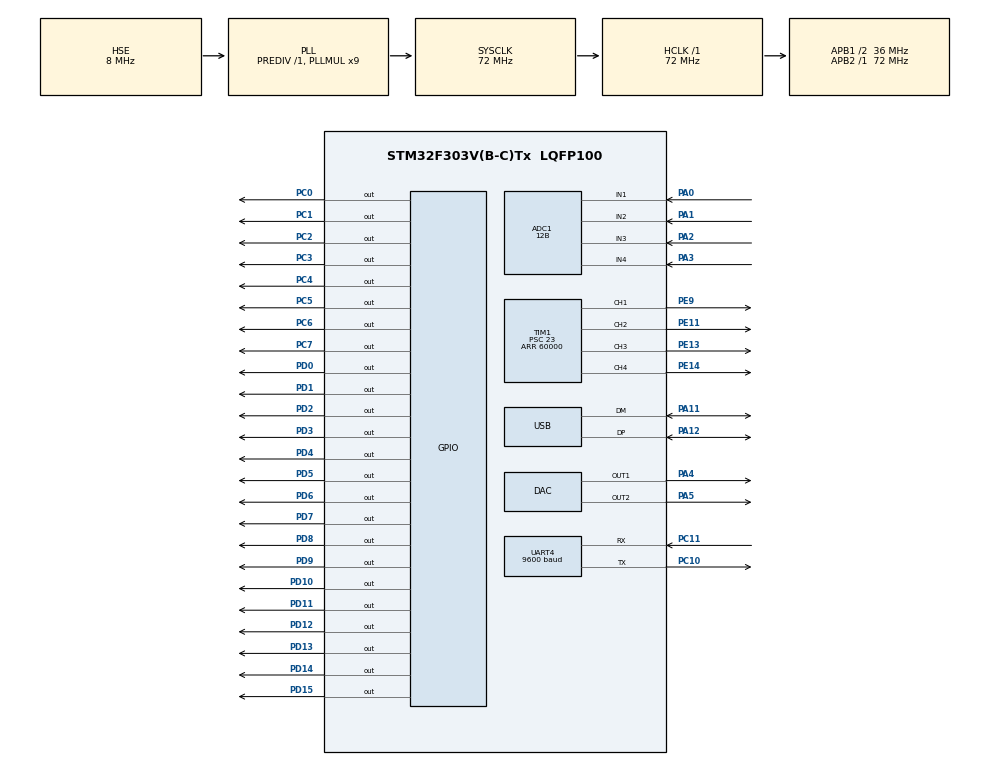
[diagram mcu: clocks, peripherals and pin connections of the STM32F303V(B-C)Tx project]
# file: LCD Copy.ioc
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ADC1.Channel-0\#ChannelRegularConversion=ADC_CHANNEL_1
ADC1.Channel-1\#ChannelRegularConversion=ADC_CHANNEL_2
ADC1.Channel-2\#ChannelRegularConversion=ADC_CHANNEL_3
ADC1.Channel-3\#ChannelRegularConversion=ADC_CHANNEL_4
ADC1.ClockPrescaler=ADC_CLOCK_SYNC_PCLK_DIV4
ADC1.ContinuousConvMode=ENABLE
ADC1.DMAContinuousRequests=DISABLE
ADC1.DataAlign=ADC_DATAALIGN_RIGHT
ADC1.DiscontinuousConvMode=DISABLE
ADC1.EOCSelection=ADC_EOC_SINGLE_SEQ_CONV
ADC1.EnableAnalogWatchDog1=false
ADC1.EnableAnalogWatchDog2=false
ADC1.EnableAnalogWatchDog3=false
ADC1.EnableInjectedConversion=DISABLE
ADC1.EnableRegularConversion=ENABLE
ADC1.ExternalTrigConv=ADC_SOFTWARE_START
ADC1.ExternalTrigConvEdge=ADC_EXTERNALTRIGCONVEDGE_NONE
ADC1.LowPowerAutoWait=DISABLE
ADC1.NbrOfConversion=4
ADC1.NbrOfConversionFlag=1
ADC1.Offset-0\#ChannelRegularConversion=0
ADC1.Offset-1\#ChannelRegularConversion=0
ADC1.Offset-2\#ChannelRegularConversion=0
ADC1.Offset-3\#ChannelRegularConversion=0
ADC1.OffsetNumber-0\#ChannelRegularConversion=ADC_OFFSET_NONE
ADC1.OffsetNumber-1\#ChannelRegularConversion=ADC_OFFSET_NONE
ADC1.OffsetNumber-2\#ChannelRegularConversion=ADC_OFFSET_NONE
ADC1.OffsetNumber-3\#ChannelRegularConversion=ADC_OFFSET_NONE
ADC1.Overrun=ADC_OVR_DATA_OVERWRITTEN
ADC1.Rank-0\#ChannelRegularConversion=1
ADC1.Rank-1\#ChannelRegularConversion=2
ADC1.Rank-2\#ChannelRegularConversion=3
ADC1.Rank-3\#ChannelRegularConversion=4
ADC1.Resolution=ADC_RESOLUTION_12B
ADC1.SamplingTime-0\#ChannelRegularConversion=ADC_SAMPLETIME_601CYCLES_5
ADC1.SamplingTime-1\#ChannelRegularConversion=ADC_SAMPLETIME_601CYCLES_5
ADC1.SamplingTime-2\#ChannelRegularConversion=ADC_SAMPLETIME_601CYCLES_5
ADC1.SamplingTime-3\#ChannelRegularConversion=ADC_SAMPLETIME_601CYCLES_5
ADC1.ScanConvMode=ADC_SCAN_ENABLE
ADC1.master=1
DAC.DAC_Trigger=DAC_TRIGGER_NONE
Mcu.Family=STM32F3
Mcu.Name=STM32F303V(B-C)Tx
Mcu.Package=LQFP100
NVIC.ADC1_2_IRQn=true\:0\:0\:false\:false\:true
NVIC.PriorityGroup=NVIC_PRIORITYGROUP_4
NVIC.RTC_Alarm_IRQn=true\:0\:0\:false\:false\:true
NVIC.TIM6_DAC_IRQn=true\:0\:0\:false\:false\:true
NVIC.TIM7_IRQn=true\:0\:0\:false\:false\:true
NVIC.UART4_IRQn=true\:0\:0\:false\:false\:true
NVIC.USB_LP_CAN_RX0_IRQn=true\:0\:0\:false\:false\:true
PA0.GPIO_PuPd=GPIO_NOPULL
PA0.Mode=IN1-Single-Ended
PA0.Signal=ADC1_IN1
PA1.Mode=IN2-Single-Ended
PA1.Signal=ADC1_IN2
PA11.GPIO_PuPd=GPIO_PULLDOWN
PA11.Mode=Device
PA11.Signal=USB_DM
PA12.GPIO_PuPd=GPIO_PULLDOWN
PA12.Mode=Device
PA12.Signal=USB_DP
PA2.Mode=IN3-Single-Ended
PA2.Signal=ADC1_IN3
PA3.Mode=IN4-Single-Ended
PA3.Signal=ADC1_IN4
PA4.Signal=COMP_DAC1_group
PA5.Signal=COMP_DAC2_group
PC0.GPIO_ModeDefaultOutputPP=GPIO_MODE_OUTPUT_PP
PC0.GPIO_PuPd=GPIO_PULLDOWN
PC0.GPIO_Speed=GPIO_SPEED_FREQ_HIGH
PC0.PinState=GPIO_PIN_SET
PC0.Signal=GPIO_Output
PC1.GPIO_ModeDefaultOutputPP=GPIO_MODE_OUTPUT_PP
PC1.GPIO_PuPd=GPIO_PULLDOWN
PC1.GPIO_Speed=GPIO_SPEED_FREQ_HIGH
PC1.PinState=GPIO_PIN_SET
PC1.Signal=GPIO_Output
PC10.Mode=Asynchronous
PC10.Signal=UART4_TX
PC11.Mode=Asynchronous
PC11.Signal=UART4_RX
PC2.GPIO_ModeDefaultOutputPP=GPIO_MODE_OUTPUT_PP
PC2.GPIO_PuPd=GPIO_PULLDOWN
PC2.GPIO_Speed=GPIO_SPEED_FREQ_HIGH
PC2.PinState=GPIO_PIN_SET
PC2.Signal=GPIO_Output
PC3.GPIO_ModeDefaultOutputPP=GPIO_MODE_OUTPUT_PP
PC3.GPIO_PuPd=GPIO_PULLDOWN
PC3.GPIO_Speed=GPIO_SPEED_FREQ_HIGH
PC3.PinState=GPIO_PIN_SET
PC3.Signal=GPIO_Output
PC4.GPIO_PuPd=GPIO_NOPULL
PC4.GPIO_Speed=GPIO_SPEED_FREQ_HIGH
PC4.PinState=GPIO_PIN_SET
PC4.Signal=GPIO_Output
PC5.PinState=GPIO_PIN_SET
PC5.Signal=GPIO_Output
PC6.GPIO_PuPd=GPIO_NOPULL
PC6.GPIO_Speed=GPIO_SPEED_FREQ_HIGH
PC6.PinState=GPIO_PIN_RESET
PC6.Signal=GPIO_Output
PC7.Signal=GPIO_Output
PD0.GPIO_ModeDefaultOutputPP=GPIO_MODE_OUTPUT_PP
PD0.GPIO_PuPd=GPIO_PULLDOWN
PD0.GPIO_Speed=GPIO_SPEED_FREQ_HIGH
PD0.PinState=GPIO_PIN_SET
PD0.Signal=GPIO_Output
PD1.GPIO_ModeDefaultOutputPP=GPIO_MODE_OUTPUT_PP
PD1.GPIO_PuPd=GPIO_PULLDOWN
PD1.GPIO_Speed=GPIO_SPEED_FREQ_HIGH
PD1.PinState=GPIO_PIN_SET
PD1.Signal=GPIO_Output
PD10.GPIO_ModeDefaultOutputPP=GPIO_MODE_OUTPUT_PP
PD10.GPIO_PuPd=GPIO_PULLDOWN
PD10.GPIO_Speed=GPIO_SPEED_FREQ_HIGH
PD10.PinState=GPIO_PIN_SET
PD10.Signal=GPIO_Output
PD11.GPIO_ModeDefaultOutputPP=GPIO_MODE_OUTPUT_PP
PD11.GPIO_PuPd=GPIO_PULLDOWN
PD11.GPIO_Speed=GPIO_SPEED_FREQ_HIGH
PD11.PinState=GPIO_PIN_SET
PD11.Signal=GPIO_Output
PD12.GPIO_ModeDefaultOutputPP=GPIO_MODE_OUTPUT_PP
PD12.GPIO_PuPd=GPIO_PULLDOWN
PD12.GPIO_Speed=GPIO_SPEED_FREQ_HIGH
PD12.PinState=GPIO_PIN_SET
PD12.Signal=GPIO_Output
PD13.GPIO_ModeDefaultOutputPP=GPIO_MODE_OUTPUT_PP
PD13.GPIO_PuPd=GPIO_PULLDOWN
PD13.GPIO_Speed=GPIO_SPEED_FREQ_HIGH
PD13.PinState=GPIO_PIN_SET
PD13.Signal=GPIO_Output
PD14.GPIO_ModeDefaultOutputPP=GPIO_MODE_OUTPUT_PP
PD14.GPIO_PuPd=GPIO_PULLDOWN
PD14.GPIO_Speed=GPIO_SPEED_FREQ_HIGH
PD14.PinState=GPIO_PIN_SET
PD14.Signal=GPIO_Output
PD15.GPIO_ModeDefaultOutputPP=GPIO_MODE_OUTPUT_PP
PD15.GPIO_PuPd=GPIO_PULLDOWN
PD15.GPIO_Speed=GPIO_SPEED_FREQ_HIGH
PD15.PinState=GPIO_PIN_SET
PD15.Signal=GPIO_Output
PD2.GPIO_ModeDefaultOutputPP=GPIO_MODE_OUTPUT_PP
PD2.GPIO_PuPd=GPIO_PULLDOWN
PD2.GPIO_Speed=GPIO_SPEED_FREQ_HIGH
PD2.PinState=GPIO_PIN_SET
PD2.Signal=GPIO_Output
PD3.GPIO_ModeDefaultOutputPP=GPIO_MODE_OUTPUT_PP
PD3.GPIO_PuPd=GPIO_PULLDOWN
PD3.GPIO_Speed=GPIO_SPEED_FREQ_HIGH
PD3.PinState=GPIO_PIN_SET
PD3.Signal=GPIO_Output
PD4.GPIO_ModeDefaultOutputPP=GPIO_MODE_OUTPUT_PP
PD4.GPIO_PuPd=GPIO_PULLDOWN
PD4.GPIO_Speed=GPIO_SPEED_FREQ_HIGH
PD4.PinState=GPIO_PIN_SET
PD4.Signal=GPIO_Output
PD5.GPIO_ModeDefaultOutputPP=GPIO_MODE_OUTPUT_PP
PD5.GPIO_PuPd=GPIO_PULLDOWN
PD5.GPIO_Speed=GPIO_SPEED_FREQ_HIGH
PD5.PinState=GPIO_PIN_SET
PD5.Signal=GPIO_Output
PD6.GPIO_ModeDefaultOutputPP=GPIO_MODE_OUTPUT_PP
PD6.GPIO_PuPd=GPIO_PULLDOWN
PD6.GPIO_Speed=GPIO_SPEED_FREQ_HIGH
PD6.PinState=GPIO_PIN_SET
PD6.Signal=GPIO_Output
PD7.GPIO_ModeDefaultOutputPP=GPIO_MODE_OUTPUT_PP
PD7.GPIO_PuPd=GPIO_PULLDOWN
PD7.GPIO_Speed=GPIO_SPEED_FREQ_HIGH
PD7.PinState=GPIO_PIN_SET
PD7.Signal=GPIO_Output
PD8.GPIO_ModeDefaultOutputPP=GPIO_MODE_OUTPUT_PP
PD8.GPIO_PuPd=GPIO_PULLDOWN
PD8.GPIO_Speed=GPIO_SPEED_FREQ_HIGH
PD8.PinState=GPIO_PIN_SET
PD8.Signal=GPIO_Output
PD9.GPIO_ModeDefaultOutputPP=GPIO_MODE_OUTPUT_PP
PD9.GPIO_PuPd=GPIO_PULLDOWN
PD9.GPIO_Speed=GPIO_SPEED_FREQ_HIGH
PD9.PinState=GPIO_PIN_SET
PD9.Signal=GPIO_Output
PE11.GPIO_Speed=GPIO_SPEED_FREQ_HIGH
PE11.Signal=S_TIM1_CH2
PE13.GPIO_Speed=GPIO_SPEED_FREQ_HIGH
PE13.Signal=S_TIM1_CH3
PE14.GPIO_Speed=GPIO_SPEED_FREQ_HIGH
PE14.Signal=S_TIM1_CH4
PE9.GPIO_Speed=GPIO_SPEED_FREQ_HIGH
PE9.Signal=S_TIM1_CH1
PF0-OSC_IN.Mode=HSE-External-Oscillator
PF0-OSC_IN.Signal=RCC_OSC_IN
PF1-OSC_OUT.Mode=HSE-External-Oscillator
PF1-OSC_OUT.Signal=RCC_OSC_OUT
ProjectManager.HeapSize=0x2000
ProjectManager.StackSize=0x2000
ProjectManager.TargetToolchain=MDK-ARM V4
RCC.AHBFreq_Value=72000000
RCC.APB1CLKDivider=RCC_HCLK_DIV2
RCC.APB1Freq_Value=36000000
RCC.APB1TimFreq_Value=72000000
RCC.APB2Freq_Value=72000000
RCC.APB2TimFreq_Value=72000000
RCC.CortexFreq_Value=72000000
RCC.HCLKFreq_Value=72000000
RCC.HSE_VALUE=8000000
RCC.HSI_VALUE=8000000
RCC.LSE_VALUE=32768
RCC.PLLMUL=RCC_PLL_MUL9
RCC.PRESCALERUSB=RCC_USBCLKSOURCE_PLL_DIV1_5
RCC.RTCClockSelection=RCC_RTCCLKSOURCE_HSE_DIV32
RCC.SYSCLKFreq_VALUE=72000000
RCC.SYSCLKSourceVirtual=RCC_SYSCLKSOURCE_PLLCLK
RCC.USBFreq_Value=48000000
RTC.Alarm-Alarm\ A=RTC_ALARM_A
RTC.Alarm_B-Alarm\ B=RTC_ALARM_B
RTC.AsynchPrediv=124
RTC.Format=RTC_FORMAT_BCD
RTC.SynchPrediv=1999
RTC.Year=0
SH.COMP_DAC1_group.0=DAC_OUT1,DAC_OUT1
SH.COMP_DAC2_group.0=DAC_OUT2,Enable_DAC_OUT2
SH.S_TIM1_CH1.0=TIM1_CH1,PWM Generation1 CH1
SH.S_TIM1_CH2.0=TIM1_CH2,PWM Generation2 CH2
SH.S_TIM1_CH3.0=TIM1_CH3,PWM Generation3 CH3
SH.S_TIM1_CH4.0=TIM1_CH4,PWM Generation4 CH4
TIM1.Channel-PWM\ Generation1\ CH1=TIM_CHANNEL_1
TIM1.Channel-PWM\ Generation2\ CH2=TIM_CHANNEL_2
TIM1.Channel-PWM\ Generation3\ CH3=TIM_CHANNEL_3
TIM1.Channel-PWM\ Generation4\ CH4=TIM_CHANNEL_4
TIM1.Period=60000
TIM1.Prescaler=23
TIM6.Period=60000
TIM6.Prescaler=1200
TIM7.Period=1
TIM7.Prescaler=1632
TIM7.TIM_MasterOutputTrigger=TIM_TRGO_RESET
UART4.BaudRate=9600
USB_DEVICE.CLASS_NAME_FS=CDC
USB_DEVICE.USBD_CDC_INTERVAL=1000
USB_DEVICE.USBD_MAX_STR_DESC_SIZ=512
USB_DEVICE.VirtualMode=Cdc
USB_DEVICE.VirtualModeFS=Cdc_FS
VP_RTC_VS_RTC_Activate.Mode=RTC_Enabled
VP_RTC_VS_RTC_Alarm_A_Intern.Mode=Alarm A
VP_RTC_VS_RTC_Alarm_B_Intern.Mode=Alarm B
VP_RTC_VS_RTC_Calendar.Mode=RTC_Calendar
VP_TIM6_VS_ClockSourceINT.Mode=Enable_Timer
VP_TIM7_VS_ClockSourceINT.Mode=Enable_Timer
VP_USB_DEVICE_VS_USB_DEVICE_CDC_FS.Mode=CDC_FS
board=AdcAndServo

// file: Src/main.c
/**
  ******************************************************************************
  * File Name          : main.c
  * Description        : Main program body
  ******************************************************************************
  * This notice applies to any and all portions of this file
  * that are not between comment pairs USER CODE BEGIN and
  * USER CODE END. Other portions of this file, whether
  * inserted by the user or by software development tools
  * are owned by their respective copyright owners.
  *
  * Copyright (c) 2017 STMicroelectronics International N.V.
  * All rights reserved.
  *
  * Redistribution and use in source and binary forms, with or without
  * modification, are permitted, provided that the following conditions are met:
  *
  * 1. Redistribution of source code must retain the above copyright notice,
  *    this list of conditions and the following disclaimer.
  * 2. Redistributions in binary form must reproduce the above copyright notice,
  *    this list of conditions and the following disclaimer in the documentation
  *    and/or other materials provided with the distribution.
  * 3. Neither the name of STMicroelectronics nor the names of other
  *    contributors to this software may be used to endorse or promote products
  *    derived from this software without specific written permission.
  * 4. This software, including modifications and/or derivative works of this
  *    software, must execute solely and exclusively on microcontroller or
  *    microprocessor devices manufactured by or for STMicroelectronics.
  * 5. Redistribution and use of this software other than as permitted under
  *    this license is void and will automatically terminate your rights under
  *    this license.
  *
  * THIS SOFTWARE IS PROVIDED BY STMICROELECTRONICS AND CONTRIBUTORS "AS IS"
  * AND ANY EXPRESS, IMPLIED OR STATUTORY WARRANTIES, INCLUDING, BUT NOT
  * LIMITED TO, THE IMPLIED WARRANTIES OF MERCHANTABILITY, FITNESS FOR A
  * PARTICULAR PURPOSE AND NON-INFRINGEMENT OF THIRD PARTY INTELLECTUAL PROPERTY
  * RIGHTS ARE DISCLAIMED TO THE FULLEST EXTENT PERMITTED BY LAW. IN NO EVENT
  * SHALL STMICROELECTRONICS OR CONTRIBUTORS BE LIABLE FOR ANY DIRECT, INDIRECT,
  * INCIDENTAL, SPECIAL, EXEMPLARY, OR CONSEQUENTIAL DAMAGES (INCLUDING, BUT NOT
  * LIMITED TO, PROCUREMENT OF SUBSTITUTE GOODS OR SERVICES; LOSS OF USE, DATA,
  * OR PROFITS; OR BUSINESS INTERRUPTION) HOWEVER CAUSED AND ON ANY THEORY OF
  * LIABILITY, WHETHER IN CONTRACT, STRICT LIABILITY, OR TORT (INCLUDING
  * NEGLIGENCE OR OTHERWISE) ARISING IN ANY WAY OUT OF THE USE OF THIS SOFTWARE,
  * EVEN IF ADVISED OF THE POSSIBILITY OF SUCH DAMAGE.
  *
  ******************************************************************************
  */
#include "main.h"
#include "stm32f3xx_hal.h"
#include "usb_device.h"

/* USER CODE BEGIN Includes */
#include "usbd_cdc_if.h"
#include "TFT.h"
#include "ctype.h"
/* USER CODE END Includes */

ADC_HandleTypeDef hadc1;

DAC_HandleTypeDef hdac;

RTC_HandleTypeDef hrtc;

TIM_HandleTypeDef htim1;
TIM_HandleTypeDef htim6;
TIM_HandleTypeDef htim7;

UART_HandleTypeDef huart4;

/* USER CODE BEGIN PV */
/* Private variables ---------------------------------------------------------*/

RTC_TimeTypeDef RTC_Time;
RTC_AlarmTypeDef RTC_Alarm;
RTC_DateTypeDef RTC_Date;

VerticalScrolling scrolling;

GPIO_InitTypeDef GPIO_InitTouchPanel;

float Xt[] = {350, 1720, 3050};
float Yt[] = {1200, 350, 1350};

float Xd[] = {10, 160, 310};
float Yd[] = {120, 10, 230};

float A;
float B;
float C;
float D;
float E;
float F;

int16_t xTouch = 160;
int16_t yTouch = 120;
int16_t xTouchOld = 160;
int16_t yTouchOld = 120;

const uint16_t T = 1000;

char line[17];
char echo[] = "ok";

uint8_t newData = 1;

uint16_t adcData[4];
uint8_t currentChannel = 0;

extern uint16_t MAX_X;
extern uint16_t MAX_Y;
extern uint16_t MIN_X;
extern uint16_t MIN_Y;

extern uint16_t RED;
extern uint16_t GREEN;
extern uint16_t BLUE;
extern uint16_t BLACK ;
extern uint16_t YELLOW;
extern uint16_t WHITE;

extern  uint16_t CYAN;
extern  uint16_t BRIGHT_RED;
extern  uint16_t GRAY1;
extern  uint16_t GRAY2;

extern uint16_t LIGHTBLUE;

extern uint16_t bcWidthFont;
extern uint16_t bcHeightFont;

extern uint8_t TFT_busy;

extern uint16_t clearTimeWidth;
extern uint16_t clearTimeHeight;

extern BITMAP* fontHeader;

/* USER CODE END PV */

void SystemClock_Config(void);
static void MX_GPIO_Init(void);
static void MX_ADC1_Init(void);
static void MX_UART4_Init(void);
static void MX_TIM1_Init(void);
static void MX_TIM6_Init(void);
static void MX_RTC_Init(void);
static void MX_DAC_Init(void);
static void MX_TIM7_Init(void);

void HAL_TIM_MspPostInit(TIM_HandleTypeDef *htim);

/* USER CODE BEGIN PFP */
/* Private function prototypes -----------------------------------------------*/

/* USER CODE END PFP */

/* USER CODE BEGIN 0 */

void TFT_DrawFullDate()
{
	if (TFT_busy == 0)
	{
		TFT_busy = 1;
		HAL_RTC_GetTime(&hrtc, &RTC_Time, RTC_FORMAT_BIN);
		HAL_RTC_GetDate(&hrtc, &RTC_Date, RTC_FORMAT_BIN);
		TFT_DrawTimeLine(&RTC_Time, WHITE, LIGHTBLUE, 64, 195);
		TFT_DrawDay(&RTC_Date, WHITE, LIGHTBLUE,64, 150);
		TFT_DrawMonth(&RTC_Date, WHITE, LIGHTBLUE,16, 105);
		TFT_DrawNumber(RTC_Date.Date, 2, WHITE, LIGHTBLUE, 256, 105);
		clearTimeWidth = fontHeader->bcWidth;
		clearTimeHeight = fontHeader->bcHeight;
		TFT_busy = 0;
	}
}

void TFT_ReadX()
{
	GPIOC->MODER &= ~(GPIO_MODER_MODER5|GPIO_MODER_MODER7);
	GPIOC->MODER |= (GPIO_MODER_MODER4_0|GPIO_MODER_MODER6_0);
}

void TFT_ReadY()
{
	GPIOC->MODER &= ~(GPIO_MODER_MODER4|GPIO_MODER_MODER6);
	GPIOC->MODER |= (GPIO_MODER_MODER5_0|GPIO_MODER_MODER7_0);
}

void HAL_UART_RxCpltCallback(UART_HandleTypeDef *huart)
{
	if(huart->Instance == UART4)
	{
		newData = 1;
		//HAL_UART_Transmit_IT(&huart4, (uint8_t*)line, sizeof(line));
		HAL_UART_Receive_IT(&huart4, (uint8_t*)line, sizeof(line)-1);
	}
}

void HAL_ADC_ConvCpltCallback(ADC_HandleTypeDef* someADC)
{
	if(someADC->Instance == ADC1)
	{
		if(__HAL_ADC_GET_FLAG(someADC, ADC_FLAG_EOC))
		{
			adcData[currentChannel] = HAL_ADC_GetValue(someADC);
		}

		if(__HAL_ADC_GET_FLAG(someADC, ADC_FLAG_EOS))
		{
			TFT_ReadX();
			currentChannel = 0;
		}else{
			TFT_ReadY();
			currentChannel++;
		}
	}

}

void HAL_TIM_PeriodElapsedCallback(TIM_HandleTypeDef* somehtim)
{
	if(somehtim->Instance == TIM7)
	{
		PlayWAV();
	}else	if(somehtim->Instance == TIM6)
	{
		TFT_DrawFullDate();
	}
}

int16_t GetTouchX()
{
	return A*adcData[1]+B*adcData[0]+C;
}

int16_t GetTouchY()
{
	return D*adcData[1]+E*adcData[0]+F;
}

/* USER CODE END 0 */

int main(void)
{

  /* USER CODE BEGIN 1 */

	uint16_t xtouch = 160;
	uint16_t ytouch = 120;

  /* USER CODE END 1 */

  /* MCU Configuration----------------------------------------------------------*/

  /* Reset of all peripherals, Initializes the Flash interface and the Systick. */
  HAL_Init();

  /* Configure the system clock */
  SystemClock_Config();

  /* Initialize all configured peripherals */
  MX_GPIO_Init();
  MX_ADC1_Init();
  MX_UART4_Init();
  MX_TIM1_Init();
  MX_USB_DEVICE_Init();
  MX_TIM6_Init();
  MX_RTC_Init();
  MX_DAC_Init();
  MX_TIM7_Init();

  /* USER CODE BEGIN 2 */
	TFT_Init(1);

	HAL_ADC_Start_IT(&hadc1);
	HAL_DAC_Start(&hdac, DAC_CHANNEL_1);
	HAL_DAC_Start(&hdac, DAC_CHANNEL_2);
	HAL_TIM_Base_Start_IT(&htim6);
	__HAL_TIM_ENABLE_IT(&htim7, TIM_IT_UPDATE);

	HAL_RTCEx_EnableBypassShadow(&hrtc);

	scrolling.TFA = 0;
	scrolling.VSA = 320;
	scrolling.BFA = 0;
	scrolling.VSP = 0;
	scrolling.VSStep = 0;
	scrolling.VSPrescaler = 0;
	scrolling.VSCounter = 1;
	TFT_VerticalScrollingDefinition(&scrolling);

	TFT_ClearScreen();
//	TFT_FillScreen(0, 159, 239, 0, RED);
//	TFT_FillScreen(160, 319, 239, 0, BLUE);

//	TFT_FillCircle(Xd[0], Yd[0], 5, WHITE);
//	TFT_FillCircle(Xd[1], Yd[1], 5, WHITE);
//	TFT_FillCircle(Xd[2], Yd[2], 5, WHITE);

	A = (Xd[0]*(Yt[1]-Yt[2])+Xd[1]*(Yt[2]-Yt[0])+Xd[2]*(Yt[0]-Yt[1]))/(Xt[0]*(Yt[1]-Yt[2])+Xt[1]*(Yt[2]-Yt[0])+Xt[2]*(Yt[0]-Yt[1]));
	B = (A*(Xt[2]-Xt[1])+Xd[1]-Xd[2])/(Yt[1]-Yt[2]);
	C = Xd[2]-A*Xt[2]-B*Yt[2];
	D = (Yd[0]*(Yt[1]-Yt[2])+Yd[1]*(Yt[2]-Yt[0])+Yd[2]*(Yt[0]-Yt[1]))/(Xt[0]*(Yt[1]-Yt[2])+Xt[1]*(Yt[2]-Yt[0])+Xt[2]*(Yt[0]-Yt[1]));
	E = (D*(Xt[2]-Xt[1])+Yd[1]-Yd[2])/(Yt[1]-Yt[2]);
	F = Yd[2]-D*Xt[2]-E*Yt[2];

  /* USER CODE END 2 */

  /* Infinite loop */
  while (1)
  {

  /* USER CODE BEGIN 3 */

		TFT_IncVerticalScrolling(&scrolling);

		xtouch = GetTouchX();
		ytouch = GetTouchY();

		if(xtouch <= 320)
		{
			xTouchOld = xTouch;
			xTouch = xtouch;
			newData = 1;
		}

		if(ytouch <= 240)
		{
			yTouchOld = yTouch;
			yTouch = ytouch;
			newData = 1;
		}

		if(newData == 1)
		{

//				TFT_ClearScreen();
			if (TFT_busy == 0)
			{
				TFT_busy = 1;
				TFT_DrawNumber(xTouch, 3,BLACK, RED, 0, 0);
				TFT_DrawNumber(yTouch, 3,BLACK, RED, 120, 0);
				TFT_busy = 0;
			}

				newData = 0;

		}

		HAL_Delay(20);

  }
  /* USER CODE END 3 */

}

/** System Clock Configuration
*/
void SystemClock_Config(void)
{

  RCC_OscInitTypeDef RCC_OscInitStruct;
  RCC_ClkInitTypeDef RCC_ClkInitStruct;
  RCC_PeriphCLKInitTypeDef PeriphClkInit;

    /**Initializes the CPU, AHB and APB busses clocks
    */
  RCC_OscInitStruct.OscillatorType = RCC_OSCILLATORTYPE_HSE;
  RCC_OscInitStruct.HSEState = RCC_HSE_ON;
  RCC_OscInitStruct.HSEPredivValue = RCC_HSE_PREDIV_DIV1;
  RCC_OscInitStruct.HSIState = RCC_HSI_ON;
  RCC_OscInitStruct.PLL.PLLState = RCC_PLL_ON;
  RCC_OscInitStruct.PLL.PLLSource = RCC_PLLSOURCE_HSE;
  RCC_OscInitStruct.PLL.PLLMUL = RCC_PLL_MUL9;
  if (HAL_RCC_OscConfig(&RCC_OscInitStruct) != HAL_OK)
  {
    _Error_Handler(__FILE__, __LINE__);
  }

    /**Initializes the CPU, AHB and APB busses clocks
    */
  RCC_ClkInitStruct.ClockType = RCC_CLOCKTYPE_HCLK|RCC_CLOCKTYPE_SYSCLK
                              |RCC_CLOCKTYPE_PCLK1|RCC_CLOCKTYPE_PCLK2;
  RCC_ClkInitStruct.SYSCLKSource = RCC_SYSCLKSOURCE_PLLCLK;
  RCC_ClkInitStruct.AHBCLKDivider = RCC_SYSCLK_DIV1;
  RCC_ClkInitStruct.APB1CLKDivider = RCC_HCLK_DIV2;
  RCC_ClkInitStruct.APB2CLKDivider = RCC_HCLK_DIV1;

  if (HAL_RCC_ClockConfig(&RCC_ClkInitStruct, FLASH_LATENCY_2) != HAL_OK)
  {
    _Error_Handler(__FILE__, __LINE__);
  }

  PeriphClkInit.PeriphClockSelection = RCC_PERIPHCLK_USB|RCC_PERIPHCLK_UART4
                              |RCC_PERIPHCLK_RTC|RCC_PERIPHCLK_TIM1;
  PeriphClkInit.Uart4ClockSelection = RCC_UART4CLKSOURCE_PCLK1;
  PeriphClkInit.RTCClockSelection = RCC_RTCCLKSOURCE_HSE_DIV32;
  PeriphClkInit.USBClockSelection = RCC_USBCLKSOURCE_PLL_DIV1_5;
  PeriphClkInit.Tim1ClockSelection = RCC_TIM1CLK_HCLK;
  if (HAL_RCCEx_PeriphCLKConfig(&PeriphClkInit) != HAL_OK)
  {
    _Error_Handler(__FILE__, __LINE__);
  }

    /**Configure the Systick interrupt time
    */
  HAL_SYSTICK_Config(HAL_RCC_GetHCLKFreq()/1000);

    /**Configure the Systick
    */
  HAL_SYSTICK_CLKSourceConfig(SYSTICK_CLKSOURCE_HCLK);

  /* SysTick_IRQn interrupt configuration */
  HAL_NVIC_SetPriority(SysTick_IRQn, 0, 0);
}

/* ADC1 init function */
static void MX_ADC1_Init(void)
{

  ADC_MultiModeTypeDef multimode;
  ADC_ChannelConfTypeDef sConfig;

    /**Common config
    */
  hadc1.Instance = ADC1;
  hadc1.Init.ClockPrescaler = ADC_CLOCK_SYNC_PCLK_DIV4;
  hadc1.Init.Resolution = ADC_RESOLUTION_12B;
  hadc1.Init.ScanConvMode = ADC_SCAN_ENABLE;
  hadc1.Init.ContinuousConvMode = ENABLE;
  hadc1.Init.DiscontinuousConvMode = DISABLE;
  hadc1.Init.ExternalTrigConvEdge = ADC_EXTERNALTRIGCONVEDGE_NONE;
  hadc1.Init.ExternalTrigConv = ADC_SOFTWARE_START;
  hadc1.Init.DataAlign = ADC_DATAALIGN_RIGHT;
  hadc1.Init.NbrOfConversion = 4;
  hadc1.Init.DMAContinuousRequests = DISABLE;
  hadc1.Init.EOCSelection = ADC_EOC_SINGLE_SEQ_CONV;
  hadc1.Init.LowPowerAutoWait = DISABLE;
  hadc1.Init.Overrun = ADC_OVR_DATA_OVERWRITTEN;
  if (HAL_ADC_Init(&hadc1) != HAL_OK)
  {
    _Error_Handler(__FILE__, __LINE__);
  }

    /**Configure the ADC multi-mode
    */
  multimode.Mode = ADC_MODE_INDEPENDENT;
  if (HAL_ADCEx_MultiModeConfigChannel(&hadc1, &multimode) != HAL_OK)
  {
    _Error_Handler(__FILE__, __LINE__);
  }

    /**Configure Regular Channel
    */
  sConfig.Channel = ADC_CHANNEL_1;
  sConfig.Rank = 1;
  sConfig.SingleDiff = ADC_SINGLE_ENDED;
  sConfig.SamplingTime = ADC_SAMPLETIME_601CYCLES_5;
  sConfig.OffsetNumber = ADC_OFFSET_NONE;
  sConfig.Offset = 0;
  if (HAL_ADC_ConfigChannel(&hadc1, &sConfig) != HAL_OK)
  {
    _Error_Handler(__FILE__, __LINE__);
  }

    /**Configure Regular Channel
    */
  sConfig.Channel = ADC_CHANNEL_2;
  sConfig.Rank = 2;
  if (HAL_ADC_ConfigChannel(&hadc1, &sConfig) != HAL_OK)
  {
    _Error_Handler(__FILE__, __LINE__);
  }

    /**Configure Regular Channel
    */
  sConfig.Channel = ADC_CHANNEL_3;
  sConfig.Rank = 3;
  if (HAL_ADC_ConfigChannel(&hadc1, &sConfig) != HAL_OK)
  {
    _Error_Handler(__FILE__, __LINE__);
  }

    /**Configure Regular Channel
    */
  sConfig.Channel = ADC_CHANNEL_4;
  sConfig.Rank = 4;
  if (HAL_ADC_ConfigChannel(&hadc1, &sConfig) != HAL_OK)
  {
    _Error_Handler(__FILE__, __LINE__);
  }

}

/* DAC init function */
static void MX_DAC_Init(void)
{

  DAC_ChannelConfTypeDef sConfig;

    /**DAC Initialization
    */
  hdac.Instance = DAC;
  if (HAL_DAC_Init(&hdac) != HAL_OK)
  {
    _Error_Handler(__FILE__, __LINE__);
  }

    /**DAC channel OUT1 config
    */
  sConfig.DAC_Trigger = DAC_TRIGGER_NONE;
  sConfig.DAC_OutputBuffer = DAC_OUTPUTBUFFER_ENABLE;
  if (HAL_DAC_ConfigChannel(&hdac, &sConfig, DAC_CHANNEL_1) != HAL_OK)
  {
    _Error_Handler(__FILE__, __LINE__);
  }

    /**DAC channel OUT2 config
    */
  if (HAL_DAC_ConfigChannel(&hdac, &sConfig, DAC_CHANNEL_2) != HAL_OK)
  {
    _Error_Handler(__FILE__, __LINE__);
  }

}

/* RTC init function */
static void MX_RTC_Init(void)
{

  RTC_TimeTypeDef sTime;
  RTC_DateTypeDef sDate;
  RTC_AlarmTypeDef sAlarm;

    /**Initialize RTC Only
    */
  hrtc.Instance = RTC;
  hrtc.Init.HourFormat = RTC_HOURFORMAT_24;
  hrtc.Init.AsynchPrediv = 124;
  hrtc.Init.SynchPrediv = 1999;
  hrtc.Init.OutPut = RTC_OUTPUT_DISABLE;
  hrtc.Init.OutPutPolarity = RTC_OUTPUT_POLARITY_HIGH;
  hrtc.Init.OutPutType = RTC_OUTPUT_TYPE_OPENDRAIN;
  if (HAL_RTC_Init(&hrtc) != HAL_OK)
  {
    _Error_Handler(__FILE__, __LINE__);
  }

    /**Initialize RTC and set the Time and Date
    */
  if(HAL_RTCEx_BKUPRead(&hrtc, RTC_BKP_DR0) != 0x32F2){
  sTime.Hours = 0x0;
  sTime.Minutes = 0x0;
  sTime.Seconds = 0x0;
  sTime.DayLightSaving = RTC_DAYLIGHTSAVING_NONE;
  sTime.StoreOperation = RTC_STOREOPERATION_RESET;
  if (HAL_RTC_SetTime(&hrtc, &sTime, RTC_FORMAT_BCD) != HAL_OK)
  {
    _Error_Handler(__FILE__, __LINE__);
  }

  sDate.WeekDay = RTC_WEEKDAY_MONDAY;
  sDate.Month = RTC_MONTH_JANUARY;
  sDate.Date = 0x1;
  sDate.Year = 0x0;

  if (HAL_RTC_SetDate(&hrtc, &sDate, RTC_FORMAT_BCD) != HAL_OK)
  {
    _Error_Handler(__FILE__, __LINE__);
  }

    HAL_RTCEx_BKUPWrite(&hrtc,RTC_BKP_DR0,0x32F2);
  }
    /**Enable the Alarm A
    */
  sAlarm.AlarmTime.Hours = 0x0;
  sAlarm.AlarmTime.Minutes = 0x0;
  sAlarm.AlarmTime.Seconds = 0x0;
  sAlarm.AlarmTime.SubSeconds = 0x0;
  sAlarm.AlarmTime.DayLightSaving = RTC_DAYLIGHTSAVING_NONE;
  sAlarm.AlarmTime.StoreOperation = RTC_STOREOPERATION_RESET;
  sAlarm.AlarmMask = RTC_ALARMMASK_NONE;
  sAlarm.AlarmSubSecondMask = RTC_ALARMSUBSECONDMASK_ALL;
  sAlarm.AlarmDateWeekDaySel = RTC_ALARMDATEWEEKDAYSEL_DATE;
  sAlarm.AlarmDateWeekDay = 0x1;
  sAlarm.Alarm = RTC_ALARM_A;
  if (HAL_RTC_SetAlarm_IT(&hrtc, &sAlarm, RTC_FORMAT_BCD) != HAL_OK)
  {
    _Error_Handler(__FILE__, __LINE__);
  }

    /**Enable the Alarm B
    */
  sAlarm.AlarmDateWeekDay = 0x1;
  sAlarm.Alarm = RTC_ALARM_B;
  if (HAL_RTC_SetAlarm_IT(&hrtc, &sAlarm, RTC_FORMAT_BCD) != HAL_OK)
  {
    _Error_Handler(__FILE__, __LINE__);
  }

}

/* TIM1 init function */
static void MX_TIM1_Init(void)
{

  TIM_MasterConfigTypeDef sMasterConfig;
  TIM_OC_InitTypeDef sConfigOC;
  TIM_BreakDeadTimeConfigTypeDef sBreakDeadTimeConfig;

  htim1.Instance = TIM1;
  htim1.Init.Prescaler = 23;
  htim1.Init.CounterMode = TIM_COUNTERMODE_UP;
  htim1.Init.Period = 60000;
  htim1.Init.ClockDivision = TIM_CLOCKDIVISION_DIV1;
  htim1.Init.RepetitionCounter = 0;
  htim1.Init.AutoReloadPreload = TIM_AUTORELOAD_PRELOAD_DISABLE;
  if (HAL_TIM_PWM_Init(&htim1) != HAL_OK)
  {
    _Error_Handler(__FILE__, __LINE__);
  }

  sMasterConfig.MasterOutputTrigger = TIM_TRGO_RESET;
  sMasterConfig.MasterOutputTrigger2 = TIM_TRGO2_RESET;
  sMasterConfig.MasterSlaveMode = TIM_MASTERSLAVEMODE_DISABLE;
  if (HAL_TIMEx_MasterConfigSynchronization(&htim1, &sMasterConfig) != HAL_OK)
  {
    _Error_Handler(__FILE__, __LINE__);
  }

  sConfigOC.OCMode = TIM_OCMODE_PWM1;
  sConfigOC.Pulse = 0;
  sConfigOC.OCPolarity = TIM_OCPOLARITY_HIGH;
  sConfigOC.OCNPolarity = TIM_OCNPOLARITY_HIGH;
  sConfigOC.OCFastMode = TIM_OCFAST_DISABLE;
  sConfigOC.OCIdleState = TIM_OCIDLESTATE_RESET;
  sConfigOC.OCNIdleState = TIM_OCNIDLESTATE_RESET;
  if (HAL_TIM_PWM_ConfigChannel(&htim1, &sConfigOC, TIM_CHANNEL_1) != HAL_OK)
  {
    _Error_Handler(__FILE__, __LINE__);
  }

  if (HAL_TIM_PWM_ConfigChannel(&htim1, &sConfigOC, TIM_CHANNEL_2) != HAL_OK)
  {
    _Error_Handler(__FILE__, __LINE__);
  }

  if (HAL_TIM_PWM_ConfigChannel(&htim1, &sConfigOC, TIM_CHANNEL_3) != HAL_OK)
  {
    _Error_Handler(__FILE__, __LINE__);
  }

  if (HAL_TIM_PWM_ConfigChannel(&htim1, &sConfigOC, TIM_CHANNEL_4) != HAL_OK)
  {
    _Error_Handler(__FILE__, __LINE__);
  }

  sBreakDeadTimeConfig.OffStateRunMode = TIM_OSSR_DISABLE;
  sBreakDeadTimeConfig.OffStateIDLEMode = TIM_OSSI_DISABLE;
  sBreakDeadTimeConfig.LockLevel = TIM_LOCKLEVEL_OFF;
  sBreakDeadTimeConfig.DeadTime = 0;
  sBreakDeadTimeConfig.BreakState = TIM_BREAK_DISABLE;
  sBreakDeadTimeConfig.BreakPolarity = TIM_BREAKPOLARITY_HIGH;
  sBreakDeadTimeConfig.BreakFilter = 0;
  sBreakDeadTimeConfig.Break2State = TIM_BREAK2_DISABLE;
  sBreakDeadTimeConfig.Break2Polarity = TIM_BREAK2POLARITY_HIGH;
  sBreakDeadTimeConfig.Break2Filter = 0;
  sBreakDeadTimeConfig.AutomaticOutput = TIM_AUTOMATICOUTPUT_DISABLE;
  if (HAL_TIMEx_ConfigBreakDeadTime(&htim1, &sBreakDeadTimeConfig) != HAL_OK)
  {
    _Error_Handler(__FILE__, __LINE__);
  }

  HAL_TIM_MspPostInit(&htim1);

}

/* TIM6 init function */
static void MX_TIM6_Init(void)
{

  TIM_MasterConfigTypeDef sMasterConfig;

  htim6.Instance = TIM6;
  htim6.Init.Prescaler = 1.2*T;
  htim6.Init.CounterMode = TIM_COUNTERMODE_UP;
  htim6.Init.Period = 60000;
  htim6.Init.AutoReloadPreload = TIM_AUTORELOAD_PRELOAD_DISABLE;
  if (HAL_TIM_Base_Init(&htim6) != HAL_OK)
  {
    _Error_Handler(__FILE__, __LINE__);
  }

  sMasterConfig.MasterOutputTrigger = TIM_TRGO_RESET;
  sMasterConfig.MasterSlaveMode = TIM_MASTERSLAVEMODE_DISABLE;
  if (HAL_TIMEx_MasterConfigSynchronization(&htim6, &sMasterConfig) != HAL_OK)
  {
    _Error_Handler(__FILE__, __LINE__);
  }

}

/* TIM7 init function */
static void MX_TIM7_Init(void)
{

  TIM_MasterConfigTypeDef sMasterConfig;

  htim7.Instance = TIM7;
  htim7.Init.Prescaler = 1632;
  htim7.Init.CounterMode = TIM_COUNTERMODE_UP;
  htim7.Init.Period = 1;
  htim7.Init.AutoReloadPreload = TIM_AUTORELOAD_PRELOAD_DISABLE;
  if (HAL_TIM_Base_Init(&htim7) != HAL_OK)
  {
    _Error_Handler(__FILE__, __LINE__);
  }

  sMasterConfig.MasterOutputTrigger = TIM_TRGO_RESET;
  sMasterConfig.MasterSlaveMode = TIM_MASTERSLAVEMODE_DISABLE;
  if (HAL_TIMEx_MasterConfigSynchronization(&htim7, &sMasterConfig) != HAL_OK)
  {
    _Error_Handler(__FILE__, __LINE__);
  }

}

/* UART4 init function */
static void MX_UART4_Init(void)
{

  huart4.Instance = UART4;
  huart4.Init.BaudRate = 9600;
  huart4.Init.WordLength = UART_WORDLENGTH_8B;
  huart4.Init.StopBits = UART_STOPBITS_1;
  huart4.Init.Parity = UART_PARITY_NONE;
  huart4.Init.Mode = UART_MODE_TX_RX;
  huart4.Init.HwFlowCtl = UART_HWCONTROL_NONE;
  huart4.Init.OverSampling = UART_OVERSAMPLING_16;
  huart4.Init.OneBitSampling = UART_ONE_BIT_SAMPLE_DISABLE;
  huart4.AdvancedInit.AdvFeatureInit = UART_ADVFEATURE_NO_INIT;
  if (HAL_UART_Init(&huart4) != HAL_OK)
  {
    _Error_Handler(__FILE__, __LINE__);
  }

}

/** Configure pins as
        * Analog
        * Input
        * Output
        * EVENT_OUT
        * EXTI
*/
static void MX_GPIO_Init(void)
{

  GPIO_InitTypeDef GPIO_InitStruct;

  /* GPIO Ports Clock Enable */
  __HAL_RCC_GPIOF_CLK_ENABLE();
  __HAL_RCC_GPIOC_CLK_ENABLE();
  __HAL_RCC_GPIOA_CLK_ENABLE();
  __HAL_RCC_GPIOE_CLK_ENABLE();
  __HAL_RCC_GPIOD_CLK_ENABLE();

  /*Configure GPIO pin Output Level */
  HAL_GPIO_WritePin(GPIOC, GPIO_PIN_0|GPIO_PIN_1|GPIO_PIN_2|GPIO_PIN_3
                          |GPIO_PIN_4|GPIO_PIN_5, GPIO_PIN_SET);

  /*Configure GPIO pin Output Level */
  HAL_GPIO_WritePin(GPIOD, GPIO_PIN_8|GPIO_PIN_9|GPIO_PIN_10|GPIO_PIN_11
                          |GPIO_PIN_12|GPIO_PIN_13|GPIO_PIN_14|GPIO_PIN_15
                          |GPIO_PIN_0|GPIO_PIN_1|GPIO_PIN_2|GPIO_PIN_3
                          |GPIO_PIN_4|GPIO_PIN_5|GPIO_PIN_6|GPIO_PIN_7, GPIO_PIN_SET);

  /*Configure GPIO pin Output Level */
  HAL_GPIO_WritePin(GPIOC, GPIO_PIN_6|GPIO_PIN_7, GPIO_PIN_RESET);

  /*Configure GPIO pins : PC0 PC1 PC2 PC3 */
  GPIO_InitStruct.Pin = GPIO_PIN_0|GPIO_PIN_1|GPIO_PIN_2|GPIO_PIN_3;
  GPIO_InitStruct.Mode = GPIO_MODE_OUTPUT_PP;
  GPIO_InitStruct.Pull = GPIO_PULLDOWN;
  GPIO_InitStruct.Speed = GPIO_SPEED_FREQ_HIGH;
  HAL_GPIO_Init(GPIOC, &GPIO_InitStruct);

  /*Configure GPIO pins : PC4 PC6 */
  GPIO_InitStruct.Pin = GPIO_PIN_4|GPIO_PIN_6;
  GPIO_InitStruct.Mode = GPIO_MODE_OUTPUT_PP;
  GPIO_InitStruct.Pull = GPIO_NOPULL;
  GPIO_InitStruct.Speed = GPIO_SPEED_FREQ_HIGH;
  HAL_GPIO_Init(GPIOC, &GPIO_InitStruct);

  /*Configure GPIO pins : PC5 PC7 */
  GPIO_InitStruct.Pin = GPIO_PIN_5|GPIO_PIN_7;
  GPIO_InitStruct.Mode = GPIO_MODE_OUTPUT_PP;
  GPIO_InitStruct.Pull = GPIO_NOPULL;
  GPIO_InitStruct.Speed = GPIO_SPEED_FREQ_LOW;
  HAL_GPIO_Init(GPIOC, &GPIO_InitStruct);

  /*Configure GPIO pins : PD8 PD9 PD10 PD11
                           PD12 PD13 PD14 PD15
                           PD0 PD1 PD2 PD3
                           PD4 PD5 PD6 PD7 */
  GPIO_InitStruct.Pin = GPIO_PIN_8|GPIO_PIN_9|GPIO_PIN_10|GPIO_PIN_11
                          |GPIO_PIN_12|GPIO_PIN_13|GPIO_PIN_14|GPIO_PIN_15
                          |GPIO_PIN_0|GPIO_PIN_1|GPIO_PIN_2|GPIO_PIN_3
                          |GPIO_PIN_4|GPIO_PIN_5|GPIO_PIN_6|GPIO_PIN_7;
  GPIO_InitStruct.Mode = GPIO_MODE_OUTPUT_PP;
  GPIO_InitStruct.Pull = GPIO_PULLDOWN;
  GPIO_InitStruct.Speed = GPIO_SPEED_FREQ_HIGH;
  HAL_GPIO_Init(GPIOD, &GPIO_InitStruct);

}

void _Error_Handler(char * file, int line)
{
  while(1)
  {
  }
}

/************************ (C) COPYRIGHT STMicroelectronics *****END OF FILE****/
